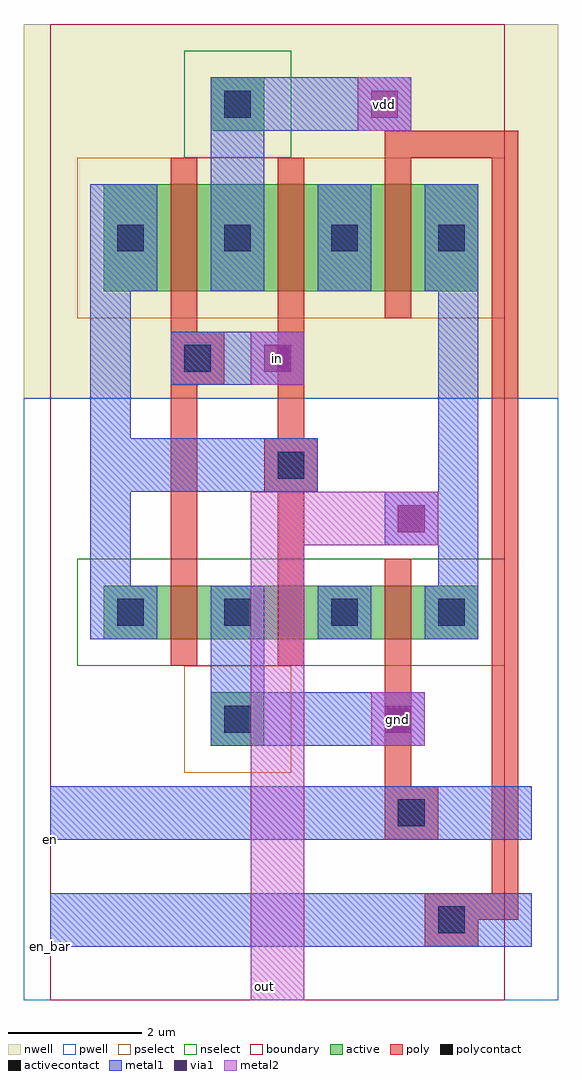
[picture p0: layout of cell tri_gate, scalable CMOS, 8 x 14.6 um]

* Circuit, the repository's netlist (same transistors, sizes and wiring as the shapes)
*********************** tri_gate ******************************

.SUBCKT tri_gate in out en en_bar vdd gnd

* SPICE3 file created from tri_gate.ext - technology: scmos

M1000 vdd in a_16_108# vdd p w=1.6u l=0.4u
M1001 a_76_212# a_16_108# vdd vdd p w=1.6u l=0.4u
M1002 out en_bar a_76_212# vdd p w=1.6u l=0.4u
M1003 gnd in a_16_108# gnd n w=0.8u l=0.4u
M1004 a_76_108# a_16_108# gnd gnd n w=0.8u l=0.4u
M1005 out en a_76_108# gnd n w=0.8u l=0.4u

.ENDS

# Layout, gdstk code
import gdstk
lib = gdstk.Library(unit=1e-6, precision=1e-09)
def R(c, l, rs):  # rectangles x0, y0, x1, y1
    for r in rs: c.add(gdstk.rectangle(r[:2], r[2:], *l))
def A(c, l, x, y, w, h, nx, ny, dx, dy):  # array of equal rectangles
    R(c, l, [(x+i*dx, y+j*dy, x+i*dx+w, y+j*dy+h) for i in range(nx) for j in range(ny)])
pwell = (41, 0)
nwell = (42, 0)
active = (43, 0)
pselect = (44, 0)
nselect = (45, 0)
poly = (46, 0)
polycontact = (47, 0)
activecontact = (48, 0)
metal1 = (49, 0)
via1 = (50, 0)
metal2 = (51, 0)
boundary = (63, 0)

tri_gate = lib.new_cell('tri_gate')
R(tri_gate, pwell, [(-0.4,0,7.6,9)])
R(tri_gate, nwell, [(-0.4,9,7.6,14.6)])
R(tri_gate, active, [(2.4,3.8,3.2,4.6), (0.8,5.4,6.4,6.2), (0.8,10.6,6.4,12.2), (2.4,13,3.2,13.8)])
R(tri_gate, pselect, [(2,3.4,3.6,5), (0.4,10.2,6.8,12.6)])
R(tri_gate, nselect, [(0.4,5,6.8,6.6), (2,12.6,3.6,14.2)])
R(tri_gate, poly, [(5.6,0.8,6.4,1.2), (5.6,1.2,7,1.6), (6.6,1.6,7,12.6), (5,2.4,5.8,3.2), (5,3.2,5.4,6.6), (1.8,5,2.2,9.2), (3.4,5,3.8,7.6), (3.2,7.6,4,8.4), (3.4,8.4,3.8,12.6), (1.8,9.2,2.6,10), (1.8,10,2.2,12.6), (5,10.2,5.4,12.6), (5,12.6,7,13)])
R(tri_gate, polycontact, [(5.8,1,6.2,1.4), (5.2,2.6,5.6,3), (3.4,7.8,3.8,8.2), (2,9.4,2.4,9.8)])
A(tri_gate, activecontact, 1, 5.6, 0.4, 0.4, 4, 2, 1.6, 5.6)
R(tri_gate, activecontact, [(2.6,4,3,4.4), (2.6,13.2,3,13.6)])
R(tri_gate, metal1, [(0,0.8,7.2,1.6), (0,2.4,7.2,3.2), (2.4,3.8,5.6,4.6), (2.4,4.6,3.2,6.2), (0.6,5.4,1.6,6.2), (4,5.4,4.8,6.2), (5.6,5.4,6.4,6.2), (0.6,6.2,1.2,7.6), (5.8,6.2,6.4,6.8), (5,6.8,6.4,7.6), (0.6,7.6,4,8.4), (5.8,7.6,6.4,10.6), (0.6,8.4,1.2,10.6), (1.8,9.2,3.8,10), (0.6,10.6,1.6,12.2), (2.4,10.6,3.2,13), (4,10.6,4.8,12.2), (5.6,10.6,6.4,12.2), (2.4,13,5.4,13.8)])
R(tri_gate, via1, [(5,4,5.4,4.4), (5.2,7,5.6,7.4), (3.2,9.4,3.6,9.8), (4.8,13.2,5.2,13.6)])
R(tri_gate, metal2, [(3,0,3.8,6.8), (4.8,3.8,5.6,4.6), (3,6.8,5.8,7.6), (3,9.2,3.8,10), (4.6,13,5.4,13.8)])
R(tri_gate, boundary, [(0,0,6.8,14.6)])
tri_gate.add(gdstk.Label('en', (0,2.4), layer=49, texttype=0))
tri_gate.add(gdstk.Label('en_bar', (0,0.8), layer=49, texttype=0))
tri_gate.add(gdstk.Label('out', (3.2,0.2), layer=51, texttype=0))
tri_gate.add(gdstk.Label('gnd', (5.2,4.2), layer=51, texttype=0))
tri_gate.add(gdstk.Label('vdd', (5,13.4), layer=51, texttype=0))
tri_gate.add(gdstk.Label('in', (3.4,9.6), layer=51, texttype=0))

lib.write_gds('tri_gate.gds')
